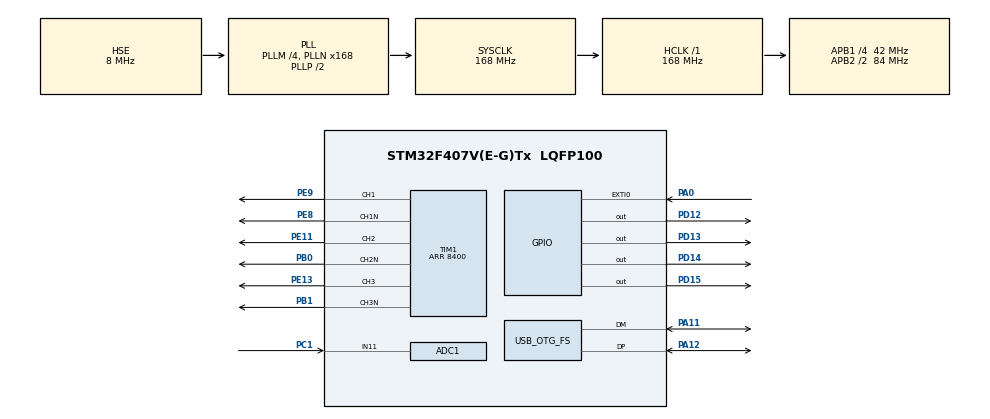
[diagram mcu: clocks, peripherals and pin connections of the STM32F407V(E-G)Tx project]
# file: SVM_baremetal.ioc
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ADC1.Channel-0\#ChannelRegularConversion=ADC_CHANNEL_11
ADC1.NbrOfConversion=1
ADC1.NbrOfConversionFlag=1
ADC1.Rank-0\#ChannelRegularConversion=1
ADC1.SamplingTime-0\#ChannelRegularConversion=ADC_SAMPLETIME_3CYCLES
ADC1.master=1
FREERTOS.Tasks01=defaultTask,24,128,StartDefaultTask,Default,NULL,Dynamic,NULL,NULL
FREERTOS.configTOTAL_HEAP_SIZE=8192
FREERTOS.configUSE_NEWLIB_REENTRANT=1
Mcu.Family=STM32F4
Mcu.Name=STM32F407V(E-G)Tx
Mcu.Package=LQFP100
NVIC.ADC_IRQn=true\:5\:0\:false\:false\:true\:true\:true\:true\:true
NVIC.EXTI0_IRQn=true\:5\:0\:false\:false\:true\:true\:true\:true\:true
NVIC.OTG_FS_IRQn=true\:6\:0\:true\:false\:true\:true\:false\:true\:true
NVIC.PriorityGroup=NVIC_PRIORITYGROUP_4
NVIC.TIM1_UP_TIM10_IRQn=true\:2\:0\:true\:false\:true\:false\:true\:true\:true
NVIC.TIM6_DAC_IRQn=true\:15\:0\:false\:false\:true\:false\:false\:true\:true
NVIC.TimeBase=TIM6_DAC_IRQn
NVIC.TimeBaseIP=TIM6
PA0-WKUP.Signal=GPXTI0
PA11.Mode=Device_Only
PA11.Signal=USB_OTG_FS_DM
PA12.Mode=Device_Only
PA12.Signal=USB_OTG_FS_DP
PB0.GPIO_Speed=GPIO_SPEED_FREQ_VERY_HIGH
PB0.Mode=PWM Generation2 CH2 CH2N
PB0.Signal=TIM1_CH2N
PB1.GPIO_Speed=GPIO_SPEED_FREQ_VERY_HIGH
PB1.Mode=PWM Generation3 CH3 CH3N
PB1.Signal=TIM1_CH3N
PC1.Signal=ADCx_IN11
PD12.Signal=GPIO_Output
PD13.Signal=GPIO_Output
PD14.Signal=GPIO_Output
PD15.Signal=GPIO_Output
PE11.GPIO_Speed=GPIO_SPEED_FREQ_VERY_HIGH
PE11.Signal=S_TIM1_CH2
PE13.GPIO_Speed=GPIO_SPEED_FREQ_VERY_HIGH
PE13.Signal=S_TIM1_CH3
PE8.GPIO_Speed=GPIO_SPEED_FREQ_VERY_HIGH
PE8.Mode=PWM Generation1 CH1 CH1N
PE8.Signal=TIM1_CH1N
PE9.GPIO_Speed=GPIO_SPEED_FREQ_VERY_HIGH
PE9.Signal=S_TIM1_CH1
PH0-OSC_IN.Mode=HSE-External-Clock-Source
PH0-OSC_IN.Signal=RCC_OSC_IN
PH1-OSC_OUT.Mode=HSE-External-Clock-Source
PH1-OSC_OUT.Signal=RCC_OSC_OUT
ProjectManager.HeapSize=0x200
ProjectManager.StackSize=0x400
ProjectManager.TargetToolchain=STM32CubeIDE
RCC.48MHZClocksFreq_Value=48000000
RCC.AHBFreq_Value=168000000
RCC.APB1CLKDivider=RCC_HCLK_DIV4
RCC.APB1Freq_Value=42000000
RCC.APB1TimFreq_Value=84000000
RCC.APB2CLKDivider=RCC_HCLK_DIV2
RCC.APB2Freq_Value=84000000
RCC.APB2TimCLKDivider=2
RCC.APB2TimFreq_Value=168000000
RCC.CortexFreq_Value=168000000
RCC.HCLKFreq_Value=168000000
RCC.HSE_VALUE=8000000
RCC.HSI_VALUE=16000000
RCC.LSE_VALUE=32768
RCC.PLLM=4
RCC.PLLN=168
RCC.PLLQ=7
RCC.SYSCLKFreq_VALUE=168000000
RCC.SYSCLKSource=RCC_SYSCLKSOURCE_PLLCLK
RCC.VCOOutputFreq_Value=336000000
SH.ADCx_IN11.0=ADC1_IN11,IN11
SH.S_TIM1_CH1.0=TIM1_CH1,PWM Generation1 CH1 CH1N
SH.S_TIM1_CH2.0=TIM1_CH2,PWM Generation2 CH2 CH2N
SH.S_TIM1_CH3.0=TIM1_CH3,PWM Generation3 CH3 CH3N
TIM1.AutoReloadPreload=TIM_AUTORELOAD_PRELOAD_ENABLE
TIM1.Channel-PWM\ Generation1\ CH1\ CH1N=TIM_CHANNEL_1
TIM1.Channel-PWM\ Generation2\ CH2\ CH2N=TIM_CHANNEL_2
TIM1.Channel-PWM\ Generation3\ CH3\ CH3N=TIM_CHANNEL_3
TIM1.CounterMode=TIM_COUNTERMODE_CENTERALIGNED1
TIM1.DeadTime=168
TIM1.Period=8400
USB_DEVICE.CLASS_NAME_FS=CDC
USB_DEVICE.VirtualMode-CDC_FS=Cdc
USB_DEVICE.VirtualModeFS=Cdc_FS
USB_OTG_FS.VirtualMode=Device_Only
VP_FREERTOS_VS_CMSIS_V2.Mode=CMSIS_V2
VP_SYS_VS_tim6.Mode=TIM6
VP_USB_DEVICE_VS_USB_DEVICE_CDC_FS.Mode=CDC_FS
board=STM32F407G-DISC1

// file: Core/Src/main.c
/* USER CODE BEGIN Header */
/**
  ******************************************************************************
  * @file           : main.c
  * @brief          : Main program body
  ******************************************************************************
  * @attention
  *
  * Copyright (c) 2026 STMicroelectronics.
  * All rights reserved.
  *
  * This software is licensed under terms that can be found in the LICENSE file
  * in the root directory of this software component.
  * If no LICENSE file comes with this software, it is provided AS-IS.
  *
  ******************************************************************************
  */
/* USER CODE END Header */
#include "main.h"
#include "cmsis_os.h"
#include "adc.h"
#include "tim.h"
#include "usb_device.h"
#include "gpio.h"

/* USER CODE BEGIN Includes */
#include "inverter.h"
#include "bsp_pwm.h"
#include "bsp_button.h"
#include "bsp_led.h"
/* USER CODE END Includes */

void SystemClock_Config(void);
void MX_FREERTOS_Init(void);

int main(void)
{

  /* MCU Configuration--------------------------------------------------------*/

  /* Reset of all peripherals, Initializes the Flash interface and the Systick. */
  HAL_Init();

  /* Configure the system clock */
  SystemClock_Config();

  /* Initialize all configured peripherals */
  MX_GPIO_Init();
  MX_ADC1_Init();
  MX_TIM1_Init();
  /* USER CODE BEGIN 2 */

  // TIM1 UP runs at priority 2 — above the FreeRTOS syscall cutoff (5) so
  // the 10 kHz PWM ISR cannot be preempted by the kernel.
  HAL_NVIC_SetPriority(TIM1_UP_TIM10_IRQn, 2, 0);

  // Belt-and-braces: ensure OTG_FS IRQ stays below the FreeRTOS syscall
  // cutoff so CDC_Receive_FS can legally call xStreamBufferSendFromISR.
  HAL_NVIC_SetPriority(OTG_FS_IRQn, 6, 0);

  bsp_pwm_init();
  inverter_init();
  bsp_pwm_start();

  /* USER CODE END 2 */

  /* Init scheduler */
  osKernelInitialize();  /* Call init function for freertos objects (in cmsis_os2.c) */
  MX_FREERTOS_Init();

  /* Start scheduler */
  osKernelStart();

  /* We should never get here as control is now taken by the scheduler */

  /* Infinite loop */
  while (1)
  {

  }
}

void SystemClock_Config(void)
{
  RCC_OscInitTypeDef RCC_OscInitStruct = {0};
  RCC_ClkInitTypeDef RCC_ClkInitStruct = {0};

  /** Configure the main internal regulator output voltage
  */
  __HAL_RCC_PWR_CLK_ENABLE();
  __HAL_PWR_VOLTAGESCALING_CONFIG(PWR_REGULATOR_VOLTAGE_SCALE1);

  /** Initializes the RCC Oscillators according to the specified parameters
  * in the RCC_OscInitTypeDef structure.
  */
  RCC_OscInitStruct.OscillatorType = RCC_OSCILLATORTYPE_HSE;
  RCC_OscInitStruct.HSEState = RCC_HSE_BYPASS;
  RCC_OscInitStruct.PLL.PLLState = RCC_PLL_ON;
  RCC_OscInitStruct.PLL.PLLSource = RCC_PLLSOURCE_HSE;
  RCC_OscInitStruct.PLL.PLLM = 4;
  RCC_OscInitStruct.PLL.PLLN = 168;
  RCC_OscInitStruct.PLL.PLLP = RCC_PLLP_DIV2;
  RCC_OscInitStruct.PLL.PLLQ = 7;
  if (HAL_RCC_OscConfig(&RCC_OscInitStruct) != HAL_OK)
  {
    Error_Handler();
  }

  /** Initializes the CPU, AHB and APB buses clocks
  */
  RCC_ClkInitStruct.ClockType = RCC_CLOCKTYPE_HCLK|RCC_CLOCKTYPE_SYSCLK
                              |RCC_CLOCKTYPE_PCLK1|RCC_CLOCKTYPE_PCLK2;
  RCC_ClkInitStruct.SYSCLKSource = RCC_SYSCLKSOURCE_PLLCLK;
  RCC_ClkInitStruct.AHBCLKDivider = RCC_SYSCLK_DIV1;
  RCC_ClkInitStruct.APB1CLKDivider = RCC_HCLK_DIV4;
  RCC_ClkInitStruct.APB2CLKDivider = RCC_HCLK_DIV2;

  if (HAL_RCC_ClockConfig(&RCC_ClkInitStruct, FLASH_LATENCY_5) != HAL_OK)
  {
    Error_Handler();
  }
}

void HAL_TIM_PeriodElapsedCallback(TIM_HandleTypeDef *htim)
{
  if (htim->Instance == TIM6)
  {
    HAL_IncTick();
  }
  /* USER CODE BEGIN Callback 1 */
  else if (htim->Instance == TIM1)
  {
    bsp_pwm_trigger_comg();
    inverter_on_pwm_update();
  }
  /* USER CODE END Callback 1 */
}

void Error_Handler(void)
{
  __disable_irq();
  while (1)
  {
  }
}

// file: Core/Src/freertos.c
/* USER CODE BEGIN Header */
/**
  ******************************************************************************
  * File Name          : freertos.c
  * Description        : Code for freertos applications
  ******************************************************************************
  * @attention
  *
  * Copyright (c) 2026 STMicroelectronics.
  * All rights reserved.
  *
  * This software is licensed under terms that can be found in the LICENSE file
  * in the root directory of this software component.
  * If no LICENSE file comes with this software, it is provided AS-IS.
  *
  ******************************************************************************
  */
/* USER CODE END Header */

#include "FreeRTOS.h"
#include "task.h"
#include "main.h"
#include "cmsis_os.h"

/* USER CODE BEGIN Includes */
#include "cli.h"
#include "cli_usb.h"
/* USER CODE END Includes */

/* Definitions for defaultTask */
osThreadId_t defaultTaskHandle;
const osThreadAttr_t defaultTask_attributes = {
  .name = "defaultTask",
  .stack_size = 128 * 4,
  .priority = (osPriority_t) osPriorityNormal,
};

void StartDefaultTask(void *argument);

extern void MX_USB_DEVICE_Init(void);
void MX_FREERTOS_Init(void); /* (MISRA C 2004 rule 8.1) */

void MX_FREERTOS_Init(void) {

  /* Create the thread(s) */
  /* creation of defaultTask */
  defaultTaskHandle = osThreadNew(StartDefaultTask, NULL, &defaultTask_attributes);

  /* USER CODE BEGIN RTOS_THREADS */
  cli_usb_init();
  static const osThreadAttr_t cli_attr = {
    .name       = "cli",
    .stack_size = 2048,
    .priority   = osPriorityNormal,
  };
  osThreadNew(cli_task, NULL, &cli_attr);
  /* USER CODE END RTOS_THREADS */

}

void StartDefaultTask(void *argument)
{
  /* init code for USB_DEVICE */
  MX_USB_DEVICE_Init();
  for(;;)
  {
    osDelay(1);
  }
}
